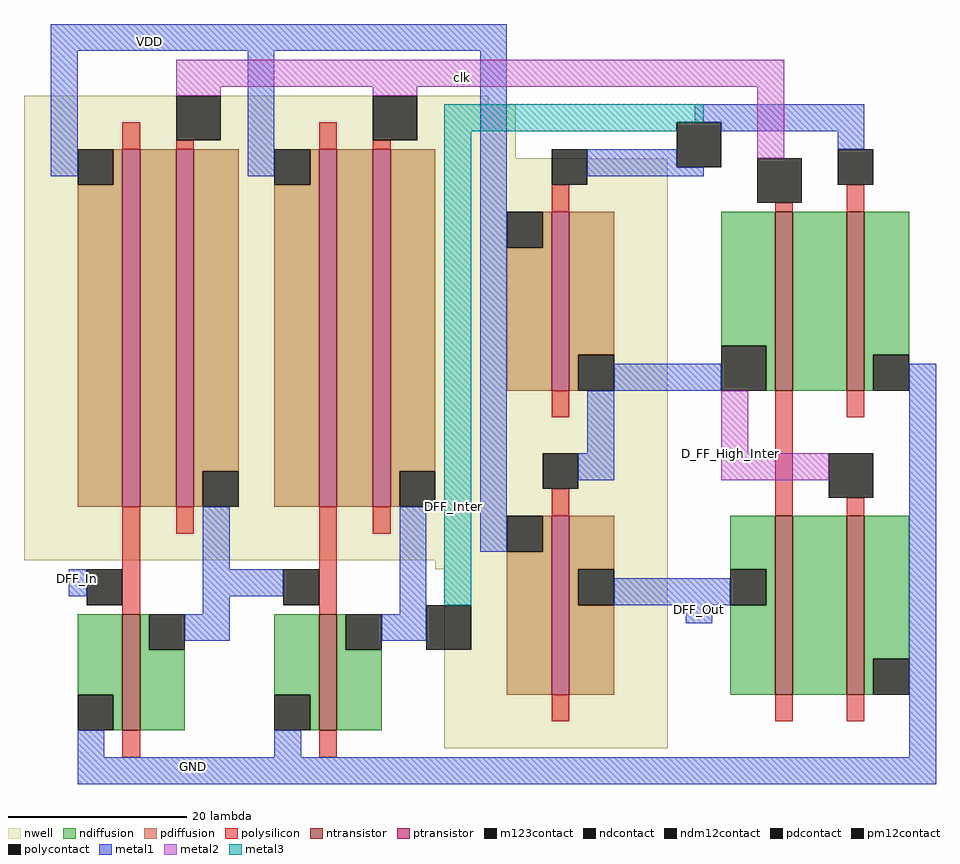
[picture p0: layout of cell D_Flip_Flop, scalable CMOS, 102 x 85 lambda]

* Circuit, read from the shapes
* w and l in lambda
.subckt D_Flip_Flop DFF_In DFF_Inter DFF_Out D_FF_High_Inter GND VDD clk
M1 n1 DFF_In GND VSUBS nfet w=13 l=2
M2 DFF_Inter n1 GND VSUBS nfet w=13 l=2
M3 n2 clk DFF_Out VSUBS nfet w=20 l=2
M4 n3 clk D_FF_High_Inter VSUBS nfet w=20 l=2
M5 GND D_FF_High_Inter n2 VSUBS nfet w=20 l=2
M6 GND DFF_Inter n3 VSUBS nfet w=20 l=2
M7 n4 DFF_In VDD n5 pfet w=40 l=2
M8 n1 clk n4 n5 pfet w=40 l=2
M9 n6 n1 VDD n5 pfet w=40 l=2
M10 DFF_Inter clk n6 n5 pfet w=40 l=2
M11 DFF_Out D_FF_High_Inter VDD n5 pfet w=20 l=2
M12 D_FF_High_Inter DFF_Inter VDD n5 pfet w=20 l=2
.ends

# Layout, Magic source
magic
tech scmos
<< nwell >>
rect -103 78 -51 79
rect -103 72 -48 78
rect -103 27 -31 72
rect -57 26 -31 27
rect -56 6 -31 26
<< ntransistor >>
rect -19 46 -17 66
rect -11 46 -9 66
rect -92 8 -90 21
rect -70 8 -68 21
rect -19 12 -17 32
rect -11 12 -9 32
<< ptransistor >>
rect -92 33 -90 73
rect -86 33 -84 73
rect -70 33 -68 73
rect -64 33 -62 73
rect -44 46 -42 66
rect -44 12 -42 32
<< ndiffusion >>
rect -25 51 -19 66
rect -20 46 -19 51
rect -17 46 -11 66
rect -9 50 -4 66
rect -9 46 -8 50
rect -97 12 -92 21
rect -93 8 -92 12
rect -90 17 -89 21
rect -90 8 -85 17
rect -75 12 -70 21
rect -71 8 -70 12
rect -68 17 -67 21
rect -68 8 -63 17
rect -24 26 -19 32
rect -20 22 -19 26
rect -24 12 -19 22
rect -17 12 -11 32
rect -9 16 -4 32
rect -9 12 -8 16
<< pdiffusion >>
rect -93 69 -92 73
rect -97 33 -92 69
rect -90 33 -86 73
rect -84 37 -79 73
rect -84 33 -83 37
rect -71 69 -70 73
rect -75 33 -70 69
rect -68 33 -64 73
rect -62 37 -57 73
rect -45 62 -44 66
rect -49 46 -44 62
rect -42 50 -37 66
rect -42 46 -41 50
rect -62 33 -61 37
rect -45 28 -44 32
rect -49 12 -44 28
rect -42 26 -37 32
rect -42 22 -41 26
rect -42 12 -37 22
<< ndcontact >>
rect -8 46 -4 50
rect -97 8 -93 12
rect -89 17 -85 21
rect -75 8 -71 12
rect -67 17 -63 21
rect -24 22 -20 26
rect -8 12 -4 16
<< pdcontact >>
rect -97 69 -93 73
rect -83 33 -79 37
rect -75 69 -71 73
rect -49 62 -45 66
rect -41 46 -37 50
rect -61 33 -57 37
rect -49 28 -45 32
rect -41 22 -37 26
<< polysilicon >>
rect -92 73 -90 76
rect -86 73 -84 74
rect -70 73 -68 76
rect -64 73 -62 74
rect -44 66 -42 69
rect -19 66 -17 67
rect -11 66 -9 69
rect -44 43 -42 46
rect -92 21 -90 33
rect -86 30 -84 33
rect -70 21 -68 33
rect -64 30 -62 33
rect -44 32 -42 35
rect -19 32 -17 46
rect -11 43 -9 46
rect -11 32 -9 34
rect -44 9 -42 12
rect -19 9 -17 12
rect -11 9 -9 12
rect -92 5 -90 8
rect -70 5 -68 8
<< polycontact >>
rect -44 69 -40 73
rect -12 69 -8 73
rect -45 35 -41 39
rect -96 22 -92 26
rect -74 22 -70 26
<< metal1 >>
rect -100 84 -49 87
rect -100 70 -97 84
rect -78 70 -75 84
rect -83 26 -80 33
rect -98 23 -96 26
rect -83 23 -74 26
rect -83 21 -80 23
rect -61 21 -58 33
rect -52 28 -49 84
rect -28 76 -9 78
rect -40 71 -30 73
rect -25 75 -9 76
rect -12 73 -9 75
rect -40 70 -27 71
rect -37 46 -25 49
rect -40 39 -37 46
rect -41 36 -37 39
rect -37 22 -24 25
rect -85 18 -80 21
rect -63 18 -58 21
rect -29 20 -26 22
rect -97 5 -94 8
rect -75 5 -72 8
rect -4 5 -1 49
rect -97 2 -1 5
<< pm12contact >>
rect -86 74 -81 79
rect -64 74 -59 79
rect -21 67 -16 72
rect -13 34 -8 39
<< ndm12contact >>
rect -25 46 -20 51
<< metal2 >>
rect -86 80 -18 83
rect -86 79 -81 80
rect -64 79 -59 80
rect -21 72 -18 80
rect -25 39 -22 46
rect -25 36 -13 39
<< m123contact >>
rect -30 71 -25 76
rect -58 17 -53 22
<< metal3 >>
rect -56 76 -27 78
rect -56 75 -30 76
rect -56 22 -53 75
<< labels >>
rlabel metal1 -89 85 -89 85 5 VDD
rlabel metal1 -84 4 -84 4 1 GND
rlabel metal2 -54 81 -54 81 1 clk
rlabel metal1 -98 24 -96 26 1 DFF_In
rlabel metal3 -55 33 -55 33 1 DFF_Inter
rlabel metal1 -29 20 -26 23 1 DFF_Out
rlabel metal2 -24 39 -24 39 1 D_FF_High_Inter
<< end >>
